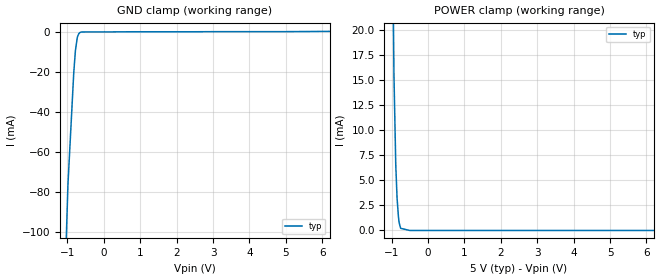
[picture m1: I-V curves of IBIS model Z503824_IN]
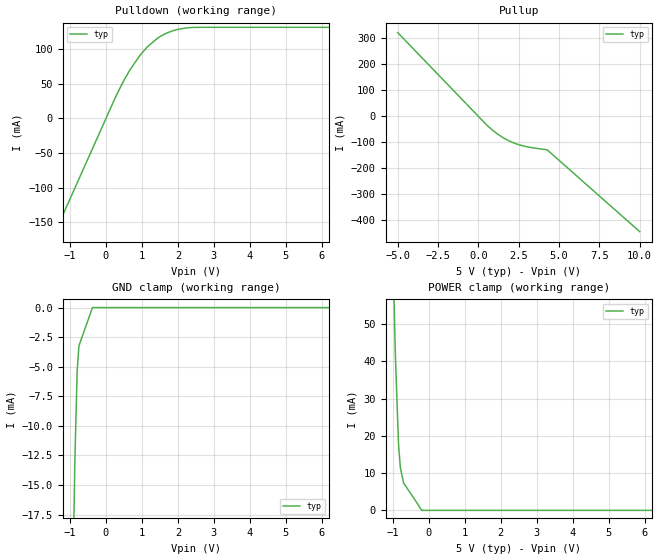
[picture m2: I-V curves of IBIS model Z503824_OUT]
| YOU ARE ONLY AUTHORIZED TO USE THIS SOFTWARE
| ACCORDING TO LICENSOR'S LICENSE RESTRICTIONS.
[IBIS Ver] 3.1
[File Name] mc74act04d.ibs
[File Rev] 2.0
[Source] Measured and created by ICX Technology
[Date] Friday 7/14/00 9:08:01 AM
[Copyright]
| (C) COPYRIGHT 1993-2000
| MENTOR GRAPHICS CORPORATION
| ICX STANDARD LIBRARY, ICX PROJECT MODELING,
| ICX CUSTOM MODELING, ICX VENDOR MODEL
| ALL RIGHTS RESERVED.
| THE FOLLOWING ARE TRADEMARKS OR SERVICE MARKS OF
| MENTOR GRAPHICS CORPORATION:ICX (R), ICX STANDARD
| LIBRARY(R), ICX PROJECT MODELING(R), ICX CUSTOM
| MODELING(R), qualityIBIS(TM), MODELVIEWER(TM),
| AND MODELEDITOR(TM)
| ALL COPIES OF SOFTWARE, INCLUDING BUT NOT LIMITED TO
| ANY MODIFICATIONS, ENHANCEMENTS OR DERIVATIVE WORKS,
| MUST CONTAIN ALL MENTOR GRAPHICS CORPORATION'S
| NOTICES AND LEGENDS, INCLUDING THOSE EMBEDDED IN
| SOFTWARE AND THOSE AFFIXED TO SOFTWARE MEDIUM
| AND CONTAINER, AS RECEIVED FROM MENTOR GRAPHICS
| CORPORATION.
|  ZAP Model Builder 2.7
[Component] MC74ACT04D
[Manufacturer] OnSemiconductor
[Package]
| variable   typ   min   max
R_pkg  .155ohms NA NA
L_pkg  3.028nH NA NA
C_pkg  .381pF NA NA
[Pin] signal_name  model_name  R_pin  L_pin C_pin
1 A Z503824_IN .16 3.587n .407p
2 Y Z503824_OUT .156 3.147n .387p
3 A Z503824_IN .152 2.717n .367p
4 Y Z503824_OUT .148 2.297n .347p
5 A Z503824_IN .152 2.717n .367p
6 Y Z503824_OUT .156 3.147n .387p
7 GROUND GND .16 3.587n .407p
8 Y Z503824_OUT .16 3.587n .407p
9 A Z503824_IN .156 3.147n .387p
10 Y Z503824_OUT .152 2.717n .367p
11 A Z503824_IN .148 2.297n .347p
12 Y Z503824_OUT .152 2.717n .367p
13 A Z503824_IN .156 3.147n .387p
14 VCC POWER .16 3.587n .407p
| Models and submodels in the file (2): Z503824_IN (Input), Z503824_OUT (Output)
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| (C) COPYRIGHT 1993-2000
| MENTOR GRAPHICS CORPORATION
| ICX STANDARD LIBRARY, ICX PROJECT MODELING,
| ICX CUSTOM MODELING, ICX VENDOR MODEL
| ALL RIGHTS RESERVED.
| THE FOLLOWING ARE TRADEMARKS OR SERVICE MARKS OF
| MENTOR GRAPHICS CORPORATION:ICX (R), ICX STANDARD
| LIBRARY(R), ICX PROJECT MODELING(R), ICX CUSTOM
| MODELING(R), qualityIBIS(TM), MODELVIEWER(TM),
| AND MODELEDITOR(TM)
| ALL COPIES OF SOFTWARE, INCLUDING BUT NOT LIMITED TO
| ANY MODIFICATIONS, ENHANCEMENTS OR DERIVATIVE WORKS,
| MUST CONTAIN ALL MENTOR GRAPHICS CORPORATION'S
| NOTICES AND LEGENDS, INCLUDING THOSE EMBEDDED IN
| SOFTWARE AND THOSE AFFIXED TO SOFTWARE MEDIUM
| AND CONTAINER, AS RECEIVED FROM MENTOR GRAPHICS
| CORPORATION.
| Model Application Version 1.89 2/18/99.
[Model] Z503824_IN
Model_type Input
Vinl = 800.0mV
Vinh = 2.000V
C_comp 4.000pF NA NA
| variable typ   min   max
[Voltage Range] 5.000V NA NA
[GND Clamp Reference] 0.000V NA NA
[POWER Clamp Reference] 5.000V NA NA
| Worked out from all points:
|   GND clamp passes 1 mA (typ) near -0.69 V on its own axis
|   POWER clamp passes 1 mA (typ) near -0.80 V on its own axis
[GND Clamp]
-5V       -2.589A    NA         NA
-1.048V   -112.7mA   NA         NA
-986.2mV  -76.27mA   NA         NA
-826.1mV  -20.17mA   NA         NA
-781mV    -9.244mA   NA         NA
-728.8mV  -2.586mA   NA         NA
-686.8mV  -676.8uA   NA         NA
-648.4mV  -77.49uA   NA         NA
10V       843.2uA    NA         NA
[POWER Clamp]
-5V       2.914A     NA         NA
-1.113V   94.84mA    NA         NA
-1.024V   46.72mA    NA         NA
-935mV    15.32mA    NA         NA
-886mV    6.515mA    NA         NA
-850mV    3.181mA    NA         NA
-812mV    1.334mA    NA         NA
-793mV    769.2uA    NA         NA
-752mV    215.6uA    NA         NA
-501.3mV  0A         NA         NA
10V       0A         NA         NA
| (C) COPYRIGHT 1993-2000
| MENTOR GRAPHICS CORPORATION
| ICX STANDARD LIBRARY, ICX PROJECT MODELING,
| ICX CUSTOM MODELING, ICX VENDOR MODEL
| ALL RIGHTS RESERVED.
| THE FOLLOWING ARE TRADEMARKS OR SERVICE MARKS OF
| MENTOR GRAPHICS CORPORATION:ICX (R), ICX STANDARD
| LIBRARY(R), ICX PROJECT MODELING(R), ICX CUSTOM
| MODELING(R), qualityIBIS(TM), MODELVIEWER(TM),
| AND MODELEDITOR(TM)
| ALL COPIES OF SOFTWARE, INCLUDING BUT NOT LIMITED TO
| ANY MODIFICATIONS, ENHANCEMENTS OR DERIVATIVE WORKS,
| MUST CONTAIN ALL MENTOR GRAPHICS CORPORATION'S
| NOTICES AND LEGENDS, INCLUDING THOSE EMBEDDED IN
| SOFTWARE AND THOSE AFFIXED TO SOFTWARE MEDIUM
| AND CONTAINER, AS RECEIVED FROM MENTOR GRAPHICS
| CORPORATION.
| Model Application Version 1.89 2/18/99.
[Model] Z503824_OUT
Model_type Output
Vref=0.000V
Rref=500.0ohms
Cref=50.00pF
Vmeas=1.500V
C_comp 8.000pF NA NA
| variable typ   min   max
[Voltage Range] 5.000V NA NA
[POWER Clamp Reference] 5.000V NA NA
[Pullup Reference] 5.000V NA NA
[Pulldown Reference] 0.000V NA NA
[GND Clamp Reference] 0.000V NA NA
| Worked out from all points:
|   slope of the pulldown table from 0 to 0.75 V, typ, clamps not added: 9.81 ohm
|   slope of the pullup table from 0 to 0.75 V, typ, clamps not added: 16.2 ohm
|   POWER clamp passes 1 mA (typ) near -0.26 V on its own axis
[GND Clamp]
-5V       -594.5mA   NA         NA
-1.133V   -64.67mA   NA         NA
-865.6mV  -13.19mA   NA         NA
-800.8mV  -5.397mA   NA         NA
-751.4mV  -3.245mA   NA         NA
-375.7mV  0A         NA         NA
10V       0A         NA         NA
[Pulldown]
-5V       -581.9mA   NA         NA
253.9mV   29.45mA    NA         NA
468.8mV   51.96mA    NA         NA
650.1mV   68.75mA    NA         NA
928.3mV   89.99mA    NA         NA
1.152V    103.5mA    NA         NA
1.436V    116mA      NA         NA
1.712V    123.8mA    NA         NA
2.002V    128.7mA    NA         NA
2.458V    131.5mA    NA         NA
10V       131.6mA    NA         NA
[Pullup]
-5V       320.9mA    NA         NA
488mV     -33.53mA   NA         NA
937mV     -58.35mA   NA         NA
1.431V    -80.55mA   NA         NA
2.324V    -107.8mA   NA         NA
3.008V    -119.4mA   NA         NA
4.275V    -131.8mA   NA         NA
10V       -446.6mA   NA         NA
[POWER Clamp]
-5V       2.079A     NA         NA
-1.006V   73.55mA    NA         NA
-928mV    41.89mA    NA         NA
-839mV    17.59mA    NA         NA
-789mV    11.45mA    NA         NA
-698mV    7.346mA    NA         NA
-390mV    2.927mA    NA         NA
-195mV    0A         NA         NA
10V       0A         NA         NA
[Ramp]
| variable typ min max
dV/dt_r 2.928/407.1p NA NA
dV/dt_f 2.928/364.0p NA NA
R_load = 500.0Ohms
